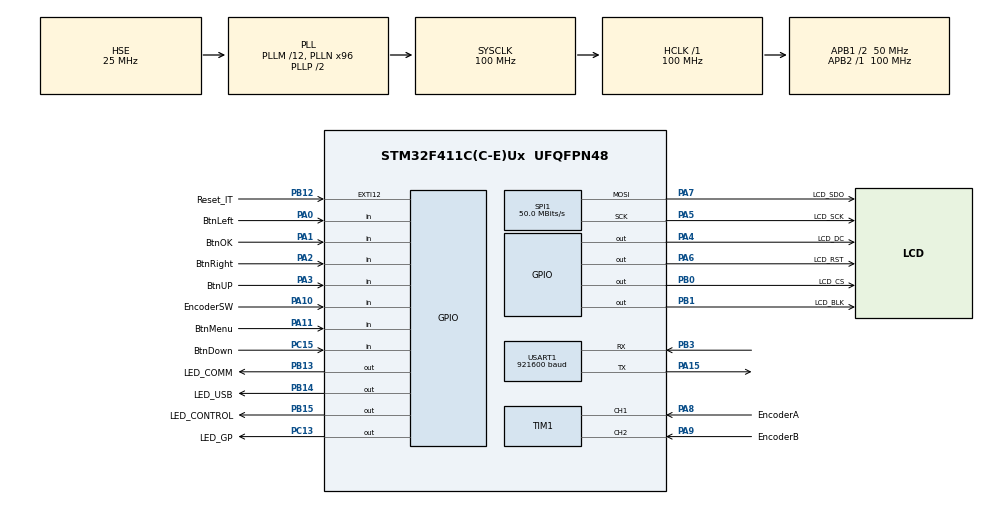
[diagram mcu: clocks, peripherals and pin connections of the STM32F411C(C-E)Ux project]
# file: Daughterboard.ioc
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Dma.MEMTOMEM.2.Direction=DMA_MEMORY_TO_MEMORY
Dma.MEMTOMEM.2.FIFOMode=DMA_FIFOMODE_ENABLE
Dma.MEMTOMEM.2.FIFOThreshold=DMA_FIFO_THRESHOLD_FULL
Dma.MEMTOMEM.2.Instance=DMA2_Stream5
Dma.MEMTOMEM.2.MemBurst=DMA_MBURST_SINGLE
Dma.MEMTOMEM.2.MemDataAlignment=DMA_MDATAALIGN_BYTE
Dma.MEMTOMEM.2.MemInc=DMA_MINC_ENABLE
Dma.MEMTOMEM.2.Mode=DMA_NORMAL
Dma.MEMTOMEM.2.PeriphBurst=DMA_PBURST_SINGLE
Dma.MEMTOMEM.2.PeriphDataAlignment=DMA_PDATAALIGN_BYTE
Dma.MEMTOMEM.2.PeriphInc=DMA_PINC_ENABLE
Dma.MEMTOMEM.2.Priority=DMA_PRIORITY_MEDIUM
Dma.MEMTOMEM.3.Direction=DMA_MEMORY_TO_MEMORY
Dma.MEMTOMEM.3.FIFOMode=DMA_FIFOMODE_ENABLE
Dma.MEMTOMEM.3.FIFOThreshold=DMA_FIFO_THRESHOLD_FULL
Dma.MEMTOMEM.3.Instance=DMA2_Stream4
Dma.MEMTOMEM.3.MemBurst=DMA_MBURST_SINGLE
Dma.MEMTOMEM.3.MemDataAlignment=DMA_MDATAALIGN_HALFWORD
Dma.MEMTOMEM.3.MemInc=DMA_MINC_ENABLE
Dma.MEMTOMEM.3.Mode=DMA_NORMAL
Dma.MEMTOMEM.3.PeriphBurst=DMA_PBURST_SINGLE
Dma.MEMTOMEM.3.PeriphDataAlignment=DMA_PDATAALIGN_HALFWORD
Dma.MEMTOMEM.3.PeriphInc=DMA_PINC_ENABLE
Dma.MEMTOMEM.3.Priority=DMA_PRIORITY_MEDIUM
Dma.MEMTOMEM.4.Direction=DMA_MEMORY_TO_MEMORY
Dma.MEMTOMEM.4.FIFOMode=DMA_FIFOMODE_ENABLE
Dma.MEMTOMEM.4.FIFOThreshold=DMA_FIFO_THRESHOLD_FULL
Dma.MEMTOMEM.4.Instance=DMA2_Stream1
Dma.MEMTOMEM.4.MemBurst=DMA_MBURST_SINGLE
Dma.MEMTOMEM.4.MemDataAlignment=DMA_MDATAALIGN_WORD
Dma.MEMTOMEM.4.MemInc=DMA_MINC_ENABLE
Dma.MEMTOMEM.4.Mode=DMA_NORMAL
Dma.MEMTOMEM.4.PeriphBurst=DMA_PBURST_SINGLE
Dma.MEMTOMEM.4.PeriphDataAlignment=DMA_PDATAALIGN_WORD
Dma.MEMTOMEM.4.PeriphInc=DMA_PINC_ENABLE
Dma.MEMTOMEM.4.Priority=DMA_PRIORITY_MEDIUM
Dma.MEMTOMEM.5.Direction=DMA_MEMORY_TO_MEMORY
Dma.MEMTOMEM.5.FIFOMode=DMA_FIFOMODE_ENABLE
Dma.MEMTOMEM.5.FIFOThreshold=DMA_FIFO_THRESHOLD_FULL
Dma.MEMTOMEM.5.Instance=DMA2_Stream0
Dma.MEMTOMEM.5.MemBurst=DMA_MBURST_SINGLE
Dma.MEMTOMEM.5.MemDataAlignment=DMA_MDATAALIGN_HALFWORD
Dma.MEMTOMEM.5.MemInc=DMA_MINC_ENABLE
Dma.MEMTOMEM.5.Mode=DMA_NORMAL
Dma.MEMTOMEM.5.PeriphBurst=DMA_PBURST_SINGLE
Dma.MEMTOMEM.5.PeriphDataAlignment=DMA_PDATAALIGN_HALFWORD
Dma.MEMTOMEM.5.PeriphInc=DMA_PINC_DISABLE
Dma.MEMTOMEM.5.Priority=DMA_PRIORITY_MEDIUM
Dma.Request0=SPI1_TX
Dma.Request1=USART1_TX
Dma.Request2=MEMTOMEM
Dma.Request3=MEMTOMEM
Dma.Request4=MEMTOMEM
Dma.Request5=MEMTOMEM
Dma.Request6=USART1_RX
Dma.SPI1_TX.0.Direction=DMA_MEMORY_TO_PERIPH
Dma.SPI1_TX.0.FIFOMode=DMA_FIFOMODE_DISABLE
Dma.SPI1_TX.0.Instance=DMA2_Stream3
Dma.SPI1_TX.0.MemDataAlignment=DMA_MDATAALIGN_BYTE
Dma.SPI1_TX.0.MemInc=DMA_MINC_ENABLE
Dma.SPI1_TX.0.Mode=DMA_NORMAL
Dma.SPI1_TX.0.PeriphDataAlignment=DMA_PDATAALIGN_BYTE
Dma.SPI1_TX.0.PeriphInc=DMA_PINC_DISABLE
Dma.SPI1_TX.0.Priority=DMA_PRIORITY_HIGH
Dma.USART1_RX.6.Direction=DMA_PERIPH_TO_MEMORY
Dma.USART1_RX.6.FIFOMode=DMA_FIFOMODE_DISABLE
Dma.USART1_RX.6.Instance=DMA2_Stream2
Dma.USART1_RX.6.MemDataAlignment=DMA_MDATAALIGN_BYTE
Dma.USART1_RX.6.MemInc=DMA_MINC_ENABLE
Dma.USART1_RX.6.Mode=DMA_NORMAL
Dma.USART1_RX.6.PeriphDataAlignment=DMA_PDATAALIGN_BYTE
Dma.USART1_RX.6.PeriphInc=DMA_PINC_DISABLE
Dma.USART1_RX.6.Priority=DMA_PRIORITY_LOW
Dma.USART1_TX.1.Direction=DMA_MEMORY_TO_PERIPH
Dma.USART1_TX.1.FIFOMode=DMA_FIFOMODE_DISABLE
Dma.USART1_TX.1.Instance=DMA2_Stream7
Dma.USART1_TX.1.MemDataAlignment=DMA_MDATAALIGN_BYTE
Dma.USART1_TX.1.MemInc=DMA_MINC_ENABLE
Dma.USART1_TX.1.Mode=DMA_NORMAL
Dma.USART1_TX.1.PeriphDataAlignment=DMA_PDATAALIGN_BYTE
Dma.USART1_TX.1.PeriphInc=DMA_PINC_DISABLE
Dma.USART1_TX.1.Priority=DMA_PRIORITY_LOW
FREERTOS.BinarySemaphores01=xSemaphoreDMACplt3,Static,xSemaphoreDMACplt3ControlBlock;xSemaphoreDMACplt4,Static,xSemaphoreDMACplt4ControlBlock;xSemaphoreDMACplt5,Static,xSemaphoreDMACplt5ControlBlock;xSemaphoreDMACplt0,Static,xSemaphoreDMACplt0ControlBlock;xSemaphore_InitMother,Dynamic,NULL;xSemaphore_UARTRxCplt,Static,xSemaphore_UARTRxCpltControlBlock;xSemaphore_UARTTxCplt,Static,xSemaphore_UARTTxCpltControlBlock
FREERTOS.Events01=xEvent_UIFinishedInit,Dynamic,NULL;xEvent_DID,Dynamic,NULL;xEvent_DTC,Dynamic,NULL;xEvent_ButtonsFIFOEnabled,Dynamic,NULL;xEvent_FatalError,Dynamic,NULL;xEvent_UARTSendType,Dynamic,NULL;xEvent_ButtonsEnabled,Dynamic,NULL;XEvent_ButtonPressed,Dynamic,NULL;xEvent_UIConfigs,Dynamic,NULL;xEvent_CurrentControlMode,Dynamic,NULL
FREERTOS.Queues01=xFIFOSetGPUReq,16,GPUReq_t,0,Dynamic,NULL,NULL;xFIFOGetGPUBuf,16,void **,0,Dynamic,NULL,NULL;xFIFO_Buttons,32,Buttons,0,Dynamic,NULL,NULL;xFIFO_COM,32,PDU_t,0,Dynamic,NULL,NULL;xFIFO_Distance,32,int16_t,0,Dynamic,NULL,NULL;xFIFO_RPM,32,int16_t,0,Dynamic,NULL,NULL;xFIFO_ControlConstants,4,ControlConst,0,Dynamic,NULL,NULL;xFIFO_EncoderData,64,EncoderDir,0,Dynamic,NULL,NULL;xFIFO_ActionControl,32,int16_t,0,Dynamic,NULL,NULL;xFIFO_ControlGains,16,ControlGain,0,Dynamic,NULL,NULL;xFIFO_UISetPoint,16,int16_t,0,Dynamic,NULL,NULL
FREERTOS.Tasks01=TaskIdle,48,64,vTaskIdle,Default,NULL,Static,TaskIdleBuffer,TaskIdleControlBlock;TaskUI,24,10240,vTaskUI,As external,NULL,Static,TaskUIBuffer,TaskUIControlBlock;TaskLeds,16,64,vTaskLeds,Default,NULL,Static,TaskLedsBuffer,TaskLedsControlBlock;TaskWdgM,48,128,vTaskWdgM,Default,NULL,Static,TaskWdgMBuffer,TaskWdgMControlBlock;TaskCOM,32,1024,vTaskCOM,As external,NULL,Static,TaskCOMBuffer,TaskCOMControlBlock;TaskDiagAppl,24,128,vTaskDiagAppl,As external,NULL,Static,TaskDiagApplBuffer,TaskDiagApplControlBlock;TaskGPUResMan,32,256,vTaskGPUResMan,As external,NULL,Static,TaskGPUResManBuffer,TaskGPUResManControlBlock;TaskHMI,40,256,vTaskHMI,As external,NULL,Static,TaskHMIBuffer,TaskHMIControlBlock
FREERTOS.configCHECK_FOR_STACK_OVERFLOW=2
FREERTOS.configENABLE_FPU=1
FREERTOS.configGENERATE_RUN_TIME_STATS=1
FREERTOS.configMINIMAL_STACK_SIZE=64
FREERTOS.configTOTAL_HEAP_SIZE=15360
FREERTOS.configUSE_NEWLIB_REENTRANT=1
FREERTOS.configUSE_STATS_FORMATTING_FUNCTIONS=1
IWDG.Reload=4000
Mcu.Family=STM32F4
Mcu.Name=STM32F411C(C-E)Ux
Mcu.Package=UFQFPN48
NVIC.DMA2_Stream2_IRQn=true\:5\:0\:false\:false\:true\:true\:false\:true\:true
NVIC.DMA2_Stream3_IRQn=true\:5\:0\:false\:false\:true\:true\:false\:true\:true
NVIC.DMA2_Stream7_IRQn=true\:5\:0\:false\:false\:true\:true\:false\:true\:true
NVIC.EXTI15_10_IRQn=true\:5\:0\:false\:false\:true\:true\:true\:true\:true
NVIC.PriorityGroup=NVIC_PRIORITYGROUP_4
NVIC.TIM3_IRQn=true\:5\:0\:false\:false\:true\:true\:true\:true\:true
NVIC.TIM4_IRQn=true\:5\:0\:false\:false\:true\:true\:true\:true\:true
NVIC.USART1_IRQn=true\:5\:0\:false\:false\:true\:true\:true\:true\:true
PA0-WKUP.GPIO_Label=BtnLeft
PA0-WKUP.GPIO_PuPd=GPIO_PULLUP
PA0-WKUP.Signal=GPIO_Input
PA1.GPIO_Label=BtnOK
PA1.GPIO_PuPd=GPIO_PULLUP
PA1.Signal=GPIO_Input
PA10.GPIO_Label=EncoderSW
PA10.GPIO_PuPd=GPIO_PULLUP
PA10.Signal=GPIO_Input
PA11.GPIO_Label=BtnMenu
PA11.GPIO_PuPd=GPIO_PULLUP
PA11.Signal=GPIO_Input
PA13.Mode=Serial_Wire
PA13.Signal=SYS_JTMS-SWDIO
PA14.Mode=Serial_Wire
PA14.Signal=SYS_JTCK-SWCLK
PA15.Mode=Asynchronous
PA15.Signal=USART1_TX
PA2.GPIO_Label=BtnRight
PA2.GPIO_PuPd=GPIO_PULLUP
PA2.Signal=GPIO_Input
PA3.GPIO_Label=BtnUP
PA3.GPIO_PuPd=GPIO_PULLUP
PA3.Signal=GPIO_Input
PA4.GPIO_Label=LCD_DC
PA4.GPIO_PuPd=GPIO_PULLUP
PA4.GPIO_Speed=GPIO_SPEED_FREQ_VERY_HIGH
PA4.PinState=GPIO_PIN_SET
PA4.Signal=GPIO_Output
PA5.GPIO_Label=LCD_SCK
PA5.Mode=TX_Only_Simplex_Unidirect_Master
PA5.Signal=SPI1_SCK
PA6.GPIO_Label=LCD_RST
PA6.GPIO_PuPd=GPIO_PULLUP
PA6.GPIO_Speed=GPIO_SPEED_FREQ_VERY_HIGH
PA6.PinState=GPIO_PIN_SET
PA6.Signal=GPIO_Output
PA7.GPIO_Label=LCD_SDO
PA7.Mode=TX_Only_Simplex_Unidirect_Master
PA7.Signal=SPI1_MOSI
PA8.GPIO_Label=EncoderA
PA8.GPIO_PuPd=GPIO_PULLUP
PA8.Signal=S_TIM1_CH1
PA9.GPIO_Label=EncoderB
PA9.GPIO_PuPd=GPIO_PULLUP
PA9.Signal=S_TIM1_CH2
PB0.GPIO_Label=LCD_CS
PB0.GPIO_PuPd=GPIO_PULLUP
PB0.GPIO_Speed=GPIO_SPEED_FREQ_VERY_HIGH
PB0.PinState=GPIO_PIN_SET
PB0.Signal=GPIO_Output
PB1.GPIO_Label=LCD_BLK
PB1.GPIO_ModeDefaultOutputPP=GPIO_MODE_OUTPUT_PP
PB1.GPIO_PuPd=GPIO_PULLUP
PB1.GPIO_Speed=GPIO_SPEED_FREQ_VERY_HIGH
PB1.PinState=GPIO_PIN_SET
PB1.Signal=GPIO_Output
PB12.GPIO_Label=Reset_IT
PB12.GPIO_ModeDefaultEXTI=GPIO_MODE_IT_FALLING
PB12.GPIO_PuPd=GPIO_PULLUP
PB12.Signal=GPXTI12
PB13.GPIO_Label=LED_COMM
PB13.Signal=GPIO_Output
PB14.GPIO_Label=LED_USB
PB14.Signal=GPIO_Output
PB15.GPIO_Label=LED_CONTROL
PB15.Signal=GPIO_Output
PB3.Mode=Asynchronous
PB3.Signal=USART1_RX
PC13-ANTI_TAMP.GPIO_Label=LED_GP
PC13-ANTI_TAMP.Signal=GPIO_Output
PC15-OSC32_OUT.GPIO_Label=BtnDown
PC15-OSC32_OUT.GPIO_PuPd=GPIO_PULLUP
PC15-OSC32_OUT.Signal=GPIO_Input
PH0\ -\ OSC_IN.Mode=HSE-External-Oscillator
PH0\ -\ OSC_IN.Signal=RCC_OSC_IN
PH1\ -\ OSC_OUT.Mode=HSE-External-Oscillator
PH1\ -\ OSC_OUT.Signal=RCC_OSC_OUT
ProjectManager.HeapSize=0x200
ProjectManager.StackSize=0x400
ProjectManager.TargetToolchain=STM32CubeIDE
RCC.48MHZClocksFreq_Value=50000000
RCC.AHBFreq_Value=100000000
RCC.APB1CLKDivider=RCC_HCLK_DIV2
RCC.APB1Freq_Value=50000000
RCC.APB1TimFreq_Value=100000000
RCC.APB2Freq_Value=100000000
RCC.APB2TimFreq_Value=100000000
RCC.CortexFreq_Value=100000000
RCC.HCLKFreq_Value=100000000
RCC.HSE_VALUE=25000000
RCC.HSI_VALUE=16000000
RCC.LSE_VALUE=32768
RCC.PLLM=12
RCC.PLLN=96
RCC.PLLSourceVirtual=RCC_PLLSOURCE_HSE
RCC.SYSCLKFreq_VALUE=100000000
RCC.SYSCLKSource=RCC_SYSCLKSOURCE_PLLCLK
RCC.VCOOutputFreq_Value=200000000
SH.S_TIM1_CH1.0=TIM1_CH1,Encoder_Interface
SH.S_TIM1_CH2.0=TIM1_CH2,Encoder_Interface
SPI1.CLKPolarity=SPI_POLARITY_HIGH
SPI1.CalculateBaudRate=50.0 MBits/s
SPI1.Direction=SPI_DIRECTION_2LINES
SPI1.Mode=SPI_MODE_MASTER
SPI1.VirtualType=VM_MASTER
TIM11.AutoReloadPreload=TIM_AUTORELOAD_PRELOAD_ENABLE
TIM11.Period=1000-1
TIM2.AutoReloadPreload=TIM_AUTORELOAD_PRELOAD_ENABLE
TIM2.Prescaler=100-1
TIM3.AutoReloadPreload=TIM_AUTORELOAD_PRELOAD_ENABLE
TIM3.Period=62499
TIM3.Prescaler=15
TIM4.AutoReloadPreload=TIM_AUTORELOAD_PRELOAD_ENABLE
TIM4.CounterMode=TIM_COUNTERMODE_DOWN
TIM4.Period=62499
TIM4.Prescaler=15
USART1.BaudRate=921600
USART1.Parity=PARITY_EVEN
USART1.VirtualMode=VM_ASYNC
USART1.WordLength=WORDLENGTH_9B
VP_FREERTOS_VS_CMSIS_V2.Mode=CMSIS_V2
VP_IWDG_VS_IWDG.Mode=IWDG_Activate
VP_TIM11_VS_ClockSourceINT.Mode=Enable_Timer
VP_TIM2_VS_ClockSourceINT.Mode=Internal
VP_TIM3_VS_ClockSourceINT.Mode=Internal
VP_TIM4_VS_ClockSourceINT.Mode=Internal
board=custom

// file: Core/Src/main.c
/* USER CODE BEGIN Header */
/**
  ******************************************************************************
  * @file           : main.c
  * @brief          : Main program body
  ******************************************************************************
  * @attention
  *
  * Copyright (c) 2023 STMicroelectronics.
  * All rights reserved.
  *
  * This software is licensed under terms that can be found in the LICENSE file
  * in the root directory of this software component.
  * If no LICENSE file comes with this software, it is provided AS-IS.
  *
  ******************************************************************************
  */
/* USER CODE END Header */
#include "main.h"
#include "cmsis_os.h"

/* USER CODE BEGIN Includes */
#include "lcd.h"
#include "ugui.h"
#include "UI.h"
#include "COM.h"
#include "GPUResMan.h"
#include "DiagAppl.h"
#include "HMI.h"
/* USER CODE END Includes */

typedef StaticTask_t osStaticThreadDef_t;
typedef StaticSemaphore_t osStaticSemaphoreDef_t;

/* USER CODE BEGIN PM */

/*
 * Documentation of timer usage
 *
 * htim1  Timer used for the encoder decodification
 * htim2  Timer used for the CPU Load measures on the OSHandler
 * htim3  Timer used for the UART periodical info send
 * htim4  Timer used as a UART Watchdog timer
 * htim11 TODO Fill here the documentation for this timer
 *
 */

/* USER CODE END PM */

IWDG_HandleTypeDef hiwdg;

SPI_HandleTypeDef hspi1;
DMA_HandleTypeDef hdma_spi1_tx;

TIM_HandleTypeDef htim1;
TIM_HandleTypeDef htim2;
TIM_HandleTypeDef htim3;
TIM_HandleTypeDef htim4;
TIM_HandleTypeDef htim11;

UART_HandleTypeDef huart1;
DMA_HandleTypeDef hdma_usart1_tx;
DMA_HandleTypeDef hdma_usart1_rx;

DMA_HandleTypeDef hdma_memtomem_dma2_stream5;
DMA_HandleTypeDef hdma_memtomem_dma2_stream4;
DMA_HandleTypeDef hdma_memtomem_dma2_stream1;
DMA_HandleTypeDef hdma_memtomem_dma2_stream0;
/* Definitions for TaskIdle */
osThreadId_t TaskIdleHandle;
uint32_t TaskIdleBuffer[ 64 ];
osStaticThreadDef_t TaskIdleControlBlock;
const osThreadAttr_t TaskIdle_attributes = {
  .name = "TaskIdle",
  .cb_mem = &TaskIdleControlBlock,
  .cb_size = sizeof(TaskIdleControlBlock),
  .stack_mem = &TaskIdleBuffer[0],
  .stack_size = sizeof(TaskIdleBuffer),
  .priority = (osPriority_t) osPriorityRealtime,
};
/* Definitions for TaskUI */
osThreadId_t TaskUIHandle;
uint32_t TaskUIBuffer[ 10240 ];
osStaticThreadDef_t TaskUIControlBlock;
const osThreadAttr_t TaskUI_attributes = {
  .name = "TaskUI",
  .cb_mem = &TaskUIControlBlock,
  .cb_size = sizeof(TaskUIControlBlock),
  .stack_mem = &TaskUIBuffer[0],
  .stack_size = sizeof(TaskUIBuffer),
  .priority = (osPriority_t) osPriorityNormal,
};
/* Definitions for TaskLeds */
osThreadId_t TaskLedsHandle;
uint32_t TaskLedsBuffer[ 64 ];
osStaticThreadDef_t TaskLedsControlBlock;
const osThreadAttr_t TaskLeds_attributes = {
  .name = "TaskLeds",
  .cb_mem = &TaskLedsControlBlock,
  .cb_size = sizeof(TaskLedsControlBlock),
  .stack_mem = &TaskLedsBuffer[0],
  .stack_size = sizeof(TaskLedsBuffer),
  .priority = (osPriority_t) osPriorityBelowNormal,
};
/* Definitions for TaskWdgM */
osThreadId_t TaskWdgMHandle;
uint32_t TaskWdgMBuffer[ 128 ];
osStaticThreadDef_t TaskWdgMControlBlock;
const osThreadAttr_t TaskWdgM_attributes = {
  .name = "TaskWdgM",
  .cb_mem = &TaskWdgMControlBlock,
  .cb_size = sizeof(TaskWdgMControlBlock),
  .stack_mem = &TaskWdgMBuffer[0],
  .stack_size = sizeof(TaskWdgMBuffer),
  .priority = (osPriority_t) osPriorityRealtime,
};
/* Definitions for TaskCOM */
osThreadId_t TaskCOMHandle;
uint32_t TaskCOMBuffer[ 1024 ];
osStaticThreadDef_t TaskCOMControlBlock;
const osThreadAttr_t TaskCOM_attributes = {
  .name = "TaskCOM",
  .cb_mem = &TaskCOMControlBlock,
  .cb_size = sizeof(TaskCOMControlBlock),
  .stack_mem = &TaskCOMBuffer[0],
  .stack_size = sizeof(TaskCOMBuffer),
  .priority = (osPriority_t) osPriorityAboveNormal,
};
/* Definitions for TaskDiagAppl */
osThreadId_t TaskDiagApplHandle;
uint32_t TaskDiagApplBuffer[ 128 ];
osStaticThreadDef_t TaskDiagApplControlBlock;
const osThreadAttr_t TaskDiagAppl_attributes = {
  .name = "TaskDiagAppl",
  .cb_mem = &TaskDiagApplControlBlock,
  .cb_size = sizeof(TaskDiagApplControlBlock),
  .stack_mem = &TaskDiagApplBuffer[0],
  .stack_size = sizeof(TaskDiagApplBuffer),
  .priority = (osPriority_t) osPriorityNormal,
};
/* Definitions for TaskGPUResMan */
osThreadId_t TaskGPUResManHandle;
uint32_t TaskGPUResManBuffer[ 256 ];
osStaticThreadDef_t TaskGPUResManControlBlock;
const osThreadAttr_t TaskGPUResMan_attributes = {
  .name = "TaskGPUResMan",
  .cb_mem = &TaskGPUResManControlBlock,
  .cb_size = sizeof(TaskGPUResManControlBlock),
  .stack_mem = &TaskGPUResManBuffer[0],
  .stack_size = sizeof(TaskGPUResManBuffer),
  .priority = (osPriority_t) osPriorityAboveNormal,
};
/* Definitions for TaskHMI */
osThreadId_t TaskHMIHandle;
uint32_t TaskHMIBuffer[ 256 ];
osStaticThreadDef_t TaskHMIControlBlock;
const osThreadAttr_t TaskHMI_attributes = {
  .name = "TaskHMI",
  .cb_mem = &TaskHMIControlBlock,
  .cb_size = sizeof(TaskHMIControlBlock),
  .stack_mem = &TaskHMIBuffer[0],
  .stack_size = sizeof(TaskHMIBuffer),
  .priority = (osPriority_t) osPriorityHigh,
};
/* Definitions for xFIFOSetGPUReq */
osMessageQueueId_t xFIFOSetGPUReqHandle;
const osMessageQueueAttr_t xFIFOSetGPUReq_attributes = {
  .name = "xFIFOSetGPUReq"
};
/* Definitions for xFIFOGetGPUBuf */
osMessageQueueId_t xFIFOGetGPUBufHandle;
const osMessageQueueAttr_t xFIFOGetGPUBuf_attributes = {
  .name = "xFIFOGetGPUBuf"
};
/* Definitions for xFIFO_Buttons */
osMessageQueueId_t xFIFO_ButtonsHandle;
const osMessageQueueAttr_t xFIFO_Buttons_attributes = {
  .name = "xFIFO_Buttons"
};
/* Definitions for xFIFO_COM */
osMessageQueueId_t xFIFO_COMHandle;
const osMessageQueueAttr_t xFIFO_COM_attributes = {
  .name = "xFIFO_COM"
};
/* Definitions for xFIFO_Distance */
osMessageQueueId_t xFIFO_DistanceHandle;
const osMessageQueueAttr_t xFIFO_Distance_attributes = {
  .name = "xFIFO_Distance"
};
/* Definitions for xFIFO_RPM */
osMessageQueueId_t xFIFO_RPMHandle;
const osMessageQueueAttr_t xFIFO_RPM_attributes = {
  .name = "xFIFO_RPM"
};
/* Definitions for xFIFO_ControlConstants */
osMessageQueueId_t xFIFO_ControlConstantsHandle;
const osMessageQueueAttr_t xFIFO_ControlConstants_attributes = {
  .name = "xFIFO_ControlConstants"
};
/* Definitions for xFIFO_EncoderData */
osMessageQueueId_t xFIFO_EncoderDataHandle;
const osMessageQueueAttr_t xFIFO_EncoderData_attributes = {
  .name = "xFIFO_EncoderData"
};
/* Definitions for xFIFO_ActionControl */
osMessageQueueId_t xFIFO_ActionControlHandle;
const osMessageQueueAttr_t xFIFO_ActionControl_attributes = {
  .name = "xFIFO_ActionControl"
};
/* Definitions for xFIFO_ControlGains */
osMessageQueueId_t xFIFO_ControlGainsHandle;
const osMessageQueueAttr_t xFIFO_ControlGains_attributes = {
  .name = "xFIFO_ControlGains"
};
/* Definitions for xFIFO_UISetPoint */
osMessageQueueId_t xFIFO_UISetPointHandle;
const osMessageQueueAttr_t xFIFO_UISetPoint_attributes = {
  .name = "xFIFO_UISetPoint"
};
/* Definitions for xSemaphoreDMACplt3 */
osSemaphoreId_t xSemaphoreDMACplt3Handle;
osStaticSemaphoreDef_t xSemaphoreDMACplt3ControlBlock;
const osSemaphoreAttr_t xSemaphoreDMACplt3_attributes = {
  .name = "xSemaphoreDMACplt3",
  .cb_mem = &xSemaphoreDMACplt3ControlBlock,
  .cb_size = sizeof(xSemaphoreDMACplt3ControlBlock),
};
/* Definitions for xSemaphoreDMACplt4 */
osSemaphoreId_t xSemaphoreDMACplt4Handle;
osStaticSemaphoreDef_t xSemaphoreDMACplt4ControlBlock;
const osSemaphoreAttr_t xSemaphoreDMACplt4_attributes = {
  .name = "xSemaphoreDMACplt4",
  .cb_mem = &xSemaphoreDMACplt4ControlBlock,
  .cb_size = sizeof(xSemaphoreDMACplt4ControlBlock),
};
/* Definitions for xSemaphoreDMACplt5 */
osSemaphoreId_t xSemaphoreDMACplt5Handle;
osStaticSemaphoreDef_t xSemaphoreDMACplt5ControlBlock;
const osSemaphoreAttr_t xSemaphoreDMACplt5_attributes = {
  .name = "xSemaphoreDMACplt5",
  .cb_mem = &xSemaphoreDMACplt5ControlBlock,
  .cb_size = sizeof(xSemaphoreDMACplt5ControlBlock),
};
/* Definitions for xSemaphoreDMACplt0 */
osSemaphoreId_t xSemaphoreDMACplt0Handle;
osStaticSemaphoreDef_t xSemaphoreDMACplt0ControlBlock;
const osSemaphoreAttr_t xSemaphoreDMACplt0_attributes = {
  .name = "xSemaphoreDMACplt0",
  .cb_mem = &xSemaphoreDMACplt0ControlBlock,
  .cb_size = sizeof(xSemaphoreDMACplt0ControlBlock),
};
/* Definitions for xSemaphore_InitMother */
osSemaphoreId_t xSemaphore_InitMotherHandle;
const osSemaphoreAttr_t xSemaphore_InitMother_attributes = {
  .name = "xSemaphore_InitMother"
};
/* Definitions for xSemaphore_UARTRxCplt */
osSemaphoreId_t xSemaphore_UARTRxCpltHandle;
osStaticSemaphoreDef_t xSemaphore_UARTRxCpltControlBlock;
const osSemaphoreAttr_t xSemaphore_UARTRxCplt_attributes = {
  .name = "xSemaphore_UARTRxCplt",
  .cb_mem = &xSemaphore_UARTRxCpltControlBlock,
  .cb_size = sizeof(xSemaphore_UARTRxCpltControlBlock),
};
/* Definitions for xSemaphore_UARTTxCplt */
osSemaphoreId_t xSemaphore_UARTTxCpltHandle;
osStaticSemaphoreDef_t xSemaphore_UARTTxCpltControlBlock;
const osSemaphoreAttr_t xSemaphore_UARTTxCplt_attributes = {
  .name = "xSemaphore_UARTTxCplt",
  .cb_mem = &xSemaphore_UARTTxCpltControlBlock,
  .cb_size = sizeof(xSemaphore_UARTTxCpltControlBlock),
};
/* Definitions for xEvent_UIFinishedInit */
osEventFlagsId_t xEvent_UIFinishedInitHandle;
const osEventFlagsAttr_t xEvent_UIFinishedInit_attributes = {
  .name = "xEvent_UIFinishedInit"
};
/* Definitions for xEvent_DID */
osEventFlagsId_t xEvent_DIDHandle;
const osEventFlagsAttr_t xEvent_DID_attributes = {
  .name = "xEvent_DID"
};
/* Definitions for xEvent_DTC */
osEventFlagsId_t xEvent_DTCHandle;
const osEventFlagsAttr_t xEvent_DTC_attributes = {
  .name = "xEvent_DTC"
};
/* Definitions for xEvent_ButtonsFIFOEnabled */
osEventFlagsId_t xEvent_ButtonsFIFOEnabledHandle;
const osEventFlagsAttr_t xEvent_ButtonsFIFOEnabled_attributes = {
  .name = "xEvent_ButtonsFIFOEnabled"
};
/* Definitions for xEvent_FatalError */
osEventFlagsId_t xEvent_FatalErrorHandle;
const osEventFlagsAttr_t xEvent_FatalError_attributes = {
  .name = "xEvent_FatalError"
};
/* Definitions for xEvent_UARTSendType */
osEventFlagsId_t xEvent_UARTSendTypeHandle;
const osEventFlagsAttr_t xEvent_UARTSendType_attributes = {
  .name = "xEvent_UARTSendType"
};
/* Definitions for xEvent_ButtonsEnabled */
osEventFlagsId_t xEvent_ButtonsEnabledHandle;
const osEventFlagsAttr_t xEvent_ButtonsEnabled_attributes = {
  .name = "xEvent_ButtonsEnabled"
};
/* Definitions for XEvent_ButtonPressed */
osEventFlagsId_t XEvent_ButtonPressedHandle;
const osEventFlagsAttr_t XEvent_ButtonPressed_attributes = {
  .name = "XEvent_ButtonPressed"
};
/* Definitions for xEvent_UIConfigs */
osEventFlagsId_t xEvent_UIConfigsHandle;
const osEventFlagsAttr_t xEvent_UIConfigs_attributes = {
  .name = "xEvent_UIConfigs"
};
/* Definitions for xEvent_CurrentControlMode */
osEventFlagsId_t xEvent_CurrentControlModeHandle;
const osEventFlagsAttr_t xEvent_CurrentControlMode_attributes = {
  .name = "xEvent_CurrentControlMode"
};
/* USER CODE BEGIN PV */
osMemoryPoolId_t MemoryPool8;  /*Generic Memory Pool designed for members of 1 Byte size*/
osMemoryPoolId_t MemoryPool16; /*Generic Memory Pool designed for members of 2 Byte size*/
osMemoryPoolId_t MemoryPool32; /*Generic Memory Pool designed for members of 4 Byte size*/

osMemoryPoolId_t MemoryPool16_UI_PixelsValue; /*Component Specific Memory Pool*/
osMemoryPoolId_t MemoryPool16_UI_PixelsIndex; /*Component Specific Memory Pool*/
/* USER CODE END PV */

void SystemClock_Config(void);
static void MX_GPIO_Init(void);
static void MX_DMA_Init(void);
static void MX_SPI1_Init(void);
static void MX_TIM1_Init(void);
static void MX_USART1_UART_Init(void);
static void MX_TIM11_Init(void);
static void MX_TIM2_Init(void);
static void MX_TIM3_Init(void);
static void MX_TIM4_Init(void);
static void MX_IWDG_Init(void);
void vTaskIdle(void *argument);
extern void vTaskUI(void *argument);
void vTaskLeds(void *argument);
void vTaskWdgM(void *argument);
extern void vTaskCOM(void *argument);
extern void vTaskDiagAppl(void *argument);
extern void vTaskGPUResMan(void *argument);
extern void vTaskHMI(void *argument);

int main(void)
{

  /* MCU Configuration--------------------------------------------------------*/

  /* Reset of all peripherals, Initializes the Flash interface and the Systick. */
  HAL_Init();

  /* Configure the system clock */
  SystemClock_Config();

  /* Initialize all configured peripherals */
  MX_GPIO_Init();
  MX_DMA_Init();
  MX_SPI1_Init();
  MX_TIM1_Init();
  MX_USART1_UART_Init();
  MX_TIM11_Init();
  MX_TIM2_Init();
  MX_TIM3_Init();
  MX_TIM4_Init();
  MX_IWDG_Init();
  /* USER CODE BEGIN 2 */
  memoryPoolInit();
  /* USER CODE END 2 */

  /* Init scheduler */
  osKernelInitialize();

  /* Create the semaphores(s) */
  /* creation of xSemaphoreDMACplt3 */
  xSemaphoreDMACplt3Handle = osSemaphoreNew(1, 1, &xSemaphoreDMACplt3_attributes);

  /* creation of xSemaphoreDMACplt4 */
  xSemaphoreDMACplt4Handle = osSemaphoreNew(1, 1, &xSemaphoreDMACplt4_attributes);

  /* creation of xSemaphoreDMACplt5 */
  xSemaphoreDMACplt5Handle = osSemaphoreNew(1, 1, &xSemaphoreDMACplt5_attributes);

  /* creation of xSemaphoreDMACplt0 */
  xSemaphoreDMACplt0Handle = osSemaphoreNew(1, 1, &xSemaphoreDMACplt0_attributes);

  /* creation of xSemaphore_InitMother */
  xSemaphore_InitMotherHandle = osSemaphoreNew(1, 1, &xSemaphore_InitMother_attributes);

  /* creation of xSemaphore_UARTRxCplt */
  xSemaphore_UARTRxCpltHandle = osSemaphoreNew(1, 1, &xSemaphore_UARTRxCplt_attributes);

  /* creation of xSemaphore_UARTTxCplt */
  xSemaphore_UARTTxCpltHandle = osSemaphoreNew(1, 1, &xSemaphore_UARTTxCplt_attributes);

  /* USER CODE BEGIN RTOS_SEMAPHORES */
  /* add semaphores, ... */
  osSemaphoreAcquire(xSemaphore_InitMotherHandle, 0U);
  osSemaphoreAcquire(xSemaphore_UARTRxCpltHandle, 0U);
  osSemaphoreAcquire(xSemaphore_UARTTxCpltHandle, 0U);
  /* USER CODE END RTOS_SEMAPHORES */

  /* Create the queue(s) */
  /* creation of xFIFOSetGPUReq */
  xFIFOSetGPUReqHandle = osMessageQueueNew (16, sizeof(GPUReq_t), &xFIFOSetGPUReq_attributes);

  /* creation of xFIFOGetGPUBuf */
  xFIFOGetGPUBufHandle = osMessageQueueNew (16, sizeof(void **), &xFIFOGetGPUBuf_attributes);

  /* creation of xFIFO_Buttons */
  xFIFO_ButtonsHandle = osMessageQueueNew (32, sizeof(Buttons), &xFIFO_Buttons_attributes);

  /* creation of xFIFO_COM */
  xFIFO_COMHandle = osMessageQueueNew (32, sizeof(PDU_t), &xFIFO_COM_attributes);

  /* creation of xFIFO_Distance */
  xFIFO_DistanceHandle = osMessageQueueNew (32, sizeof(int16_t), &xFIFO_Distance_attributes);

  /* creation of xFIFO_RPM */
  xFIFO_RPMHandle = osMessageQueueNew (32, sizeof(int16_t), &xFIFO_RPM_attributes);

  /* creation of xFIFO_ControlConstants */
  xFIFO_ControlConstantsHandle = osMessageQueueNew (4, sizeof(ControlConst), &xFIFO_ControlConstants_attributes);

  /* creation of xFIFO_EncoderData */
  xFIFO_EncoderDataHandle = osMessageQueueNew (64, sizeof(EncoderDir), &xFIFO_EncoderData_attributes);

  /* creation of xFIFO_ActionControl */
  xFIFO_ActionControlHandle = osMessageQueueNew (32, sizeof(int16_t), &xFIFO_ActionControl_attributes);

  /* creation of xFIFO_ControlGains */
  xFIFO_ControlGainsHandle = osMessageQueueNew (16, sizeof(ControlGain), &xFIFO_ControlGains_attributes);

  /* creation of xFIFO_UISetPoint */
  xFIFO_UISetPointHandle = osMessageQueueNew (16, sizeof(int16_t), &xFIFO_UISetPoint_attributes);

  /* Create the thread(s) */
  /* creation of TaskIdle */
  TaskIdleHandle = osThreadNew(vTaskIdle, NULL, &TaskIdle_attributes);

  /* creation of TaskUI */
  TaskUIHandle = osThreadNew(vTaskUI, NULL, &TaskUI_attributes);

  /* creation of TaskLeds */
  TaskLedsHandle = osThreadNew(vTaskLeds, NULL, &TaskLeds_attributes);

  /* creation of TaskWdgM */
  TaskWdgMHandle = osThreadNew(vTaskWdgM, NULL, &TaskWdgM_attributes);

  /* creation of TaskCOM */
  TaskCOMHandle = osThreadNew(vTaskCOM, NULL, &TaskCOM_attributes);

  /* creation of TaskDiagAppl */
  TaskDiagApplHandle = osThreadNew(vTaskDiagAppl, NULL, &TaskDiagAppl_attributes);

  /* creation of TaskGPUResMan */
  TaskGPUResManHandle = osThreadNew(vTaskGPUResMan, NULL, &TaskGPUResMan_attributes);

  /* creation of TaskHMI */
  TaskHMIHandle = osThreadNew(vTaskHMI, NULL, &TaskHMI_attributes);

  /* Create the event(s) */
  /* creation of xEvent_UIFinishedInit */
  xEvent_UIFinishedInitHandle = osEventFlagsNew(&xEvent_UIFinishedInit_attributes);

  /* creation of xEvent_DID */
  xEvent_DIDHandle = osEventFlagsNew(&xEvent_DID_attributes);

  /* creation of xEvent_DTC */
  xEvent_DTCHandle = osEventFlagsNew(&xEvent_DTC_attributes);

  /* creation of xEvent_ButtonsFIFOEnabled */
  xEvent_ButtonsFIFOEnabledHandle = osEventFlagsNew(&xEvent_ButtonsFIFOEnabled_attributes);

  /* creation of xEvent_FatalError */
  xEvent_FatalErrorHandle = osEventFlagsNew(&xEvent_FatalError_attributes);

  /* creation of xEvent_UARTSendType */
  xEvent_UARTSendTypeHandle = osEventFlagsNew(&xEvent_UARTSendType_attributes);

  /* creation of xEvent_ButtonsEnabled */
  xEvent_ButtonsEnabledHandle = osEventFlagsNew(&xEvent_ButtonsEnabled_attributes);

  /* creation of XEvent_ButtonPressed */
  XEvent_ButtonPressedHandle = osEventFlagsNew(&XEvent_ButtonPressed_attributes);

  /* creation of xEvent_UIConfigs */
  xEvent_UIConfigsHandle = osEventFlagsNew(&xEvent_UIConfigs_attributes);

  /* creation of xEvent_CurrentControlMode */
  xEvent_CurrentControlModeHandle = osEventFlagsNew(&xEvent_CurrentControlMode_attributes);

  /* Start scheduler */
  osKernelStart();
  /* We should never get here as control is now taken by the scheduler */
  /* Infinite loop */
  while (1)
  {

  }
}

void SystemClock_Config(void)
{
  RCC_OscInitTypeDef RCC_OscInitStruct = {0};
  RCC_ClkInitTypeDef RCC_ClkInitStruct = {0};

  /** Configure the main internal regulator output voltage
  */
  __HAL_RCC_PWR_CLK_ENABLE();
  __HAL_PWR_VOLTAGESCALING_CONFIG(PWR_REGULATOR_VOLTAGE_SCALE1);

  /** Initializes the RCC Oscillators according to the specified parameters
  * in the RCC_OscInitTypeDef structure.
  */
  RCC_OscInitStruct.OscillatorType = RCC_OSCILLATORTYPE_LSI|RCC_OSCILLATORTYPE_HSE;
  RCC_OscInitStruct.HSEState = RCC_HSE_ON;
  RCC_OscInitStruct.LSIState = RCC_LSI_ON;
  RCC_OscInitStruct.PLL.PLLState = RCC_PLL_ON;
  RCC_OscInitStruct.PLL.PLLSource = RCC_PLLSOURCE_HSE;
  RCC_OscInitStruct.PLL.PLLM = 12;
  RCC_OscInitStruct.PLL.PLLN = 96;
  RCC_OscInitStruct.PLL.PLLP = RCC_PLLP_DIV2;
  RCC_OscInitStruct.PLL.PLLQ = 4;
  if (HAL_RCC_OscConfig(&RCC_OscInitStruct) != HAL_OK)
  {
    Error_Handler();
  }

  /** Initializes the CPU, AHB and APB buses clocks
  */
  RCC_ClkInitStruct.ClockType = RCC_CLOCKTYPE_HCLK|RCC_CLOCKTYPE_SYSCLK
                              |RCC_CLOCKTYPE_PCLK1|RCC_CLOCKTYPE_PCLK2;
  RCC_ClkInitStruct.SYSCLKSource = RCC_SYSCLKSOURCE_PLLCLK;
  RCC_ClkInitStruct.AHBCLKDivider = RCC_SYSCLK_DIV1;
  RCC_ClkInitStruct.APB1CLKDivider = RCC_HCLK_DIV2;
  RCC_ClkInitStruct.APB2CLKDivider = RCC_HCLK_DIV1;

  if (HAL_RCC_ClockConfig(&RCC_ClkInitStruct, FLASH_LATENCY_3) != HAL_OK)
  {
    Error_Handler();
  }
}

static void MX_IWDG_Init(void)
{

  hiwdg.Instance = IWDG;
  hiwdg.Init.Prescaler = IWDG_PRESCALER_4;
  hiwdg.Init.Reload = 4000;
  if (HAL_IWDG_Init(&hiwdg) != HAL_OK)
  {
    Error_Handler();
  }

}

static void MX_SPI1_Init(void)
{

  /* SPI1 parameter configuration*/
  hspi1.Instance = SPI1;
  hspi1.Init.Mode = SPI_MODE_MASTER;
  hspi1.Init.Direction = SPI_DIRECTION_2LINES;
  hspi1.Init.DataSize = SPI_DATASIZE_8BIT;
  hspi1.Init.CLKPolarity = SPI_POLARITY_HIGH;
  hspi1.Init.CLKPhase = SPI_PHASE_1EDGE;
  hspi1.Init.NSS = SPI_NSS_SOFT;
  hspi1.Init.BaudRatePrescaler = SPI_BAUDRATEPRESCALER_2;
  hspi1.Init.FirstBit = SPI_FIRSTBIT_MSB;
  hspi1.Init.TIMode = SPI_TIMODE_DISABLE;
  hspi1.Init.CRCCalculation = SPI_CRCCALCULATION_DISABLE;
  hspi1.Init.CRCPolynomial = 10;
  if (HAL_SPI_Init(&hspi1) != HAL_OK)
  {
    Error_Handler();
  }

}

static void MX_TIM1_Init(void)
{

  TIM_Encoder_InitTypeDef sConfig = {0};
  TIM_MasterConfigTypeDef sMasterConfig = {0};

  htim1.Instance = TIM1;
  htim1.Init.Prescaler = 0;
  htim1.Init.CounterMode = TIM_COUNTERMODE_UP;
  htim1.Init.Period = 65535;
  htim1.Init.ClockDivision = TIM_CLOCKDIVISION_DIV1;
  htim1.Init.RepetitionCounter = 0;
  htim1.Init.AutoReloadPreload = TIM_AUTORELOAD_PRELOAD_DISABLE;
  sConfig.EncoderMode = TIM_ENCODERMODE_TI1;
  sConfig.IC1Polarity = TIM_ICPOLARITY_RISING;
  sConfig.IC1Selection = TIM_ICSELECTION_DIRECTTI;
  sConfig.IC1Prescaler = TIM_ICPSC_DIV1;
  sConfig.IC1Filter = 0;
  sConfig.IC2Polarity = TIM_ICPOLARITY_RISING;
  sConfig.IC2Selection = TIM_ICSELECTION_DIRECTTI;
  sConfig.IC2Prescaler = TIM_ICPSC_DIV1;
  sConfig.IC2Filter = 0;
  if (HAL_TIM_Encoder_Init(&htim1, &sConfig) != HAL_OK)
  {
    Error_Handler();
  }
  sMasterConfig.MasterOutputTrigger = TIM_TRGO_RESET;
  sMasterConfig.MasterSlaveMode = TIM_MASTERSLAVEMODE_DISABLE;
  if (HAL_TIMEx_MasterConfigSynchronization(&htim1, &sMasterConfig) != HAL_OK)
  {
    Error_Handler();
  }

}

static void MX_TIM2_Init(void)
{

  TIM_ClockConfigTypeDef sClockSourceConfig = {0};
  TIM_MasterConfigTypeDef sMasterConfig = {0};

  htim2.Instance = TIM2;
  htim2.Init.Prescaler = 100-1;
  htim2.Init.CounterMode = TIM_COUNTERMODE_UP;
  htim2.Init.Period = 4294967295;
  htim2.Init.ClockDivision = TIM_CLOCKDIVISION_DIV1;
  htim2.Init.AutoReloadPreload = TIM_AUTORELOAD_PRELOAD_ENABLE;
  if (HAL_TIM_Base_Init(&htim2) != HAL_OK)
  {
    Error_Handler();
  }
  sClockSourceConfig.ClockSource = TIM_CLOCKSOURCE_INTERNAL;
  if (HAL_TIM_ConfigClockSource(&htim2, &sClockSourceConfig) != HAL_OK)
  {
    Error_Handler();
  }
  sMasterConfig.MasterOutputTrigger = TIM_TRGO_RESET;
  sMasterConfig.MasterSlaveMode = TIM_MASTERSLAVEMODE_DISABLE;
  if (HAL_TIMEx_MasterConfigSynchronization(&htim2, &sMasterConfig) != HAL_OK)
  {
    Error_Handler();
  }

}

static void MX_TIM3_Init(void)
{

  TIM_ClockConfigTypeDef sClockSourceConfig = {0};
  TIM_MasterConfigTypeDef sMasterConfig = {0};

  htim3.Instance = TIM3;
  htim3.Init.Prescaler = 15;
  htim3.Init.CounterMode = TIM_COUNTERMODE_UP;
  htim3.Init.Period = 62499;
  htim3.Init.ClockDivision = TIM_CLOCKDIVISION_DIV1;
  htim3.Init.AutoReloadPreload = TIM_AUTORELOAD_PRELOAD_ENABLE;
  if (HAL_TIM_Base_Init(&htim3) != HAL_OK)
  {
    Error_Handler();
  }
  sClockSourceConfig.ClockSource = TIM_CLOCKSOURCE_INTERNAL;
  if (HAL_TIM_ConfigClockSource(&htim3, &sClockSourceConfig) != HAL_OK)
  {
    Error_Handler();
  }
  sMasterConfig.MasterOutputTrigger = TIM_TRGO_RESET;
  sMasterConfig.MasterSlaveMode = TIM_MASTERSLAVEMODE_DISABLE;
  if (HAL_TIMEx_MasterConfigSynchronization(&htim3, &sMasterConfig) != HAL_OK)
  {
    Error_Handler();
  }

}

static void MX_TIM4_Init(void)
{

  TIM_ClockConfigTypeDef sClockSourceConfig = {0};
  TIM_MasterConfigTypeDef sMasterConfig = {0};

  htim4.Instance = TIM4;
  htim4.Init.Prescaler = 15;
  htim4.Init.CounterMode = TIM_COUNTERMODE_DOWN;
  htim4.Init.Period = 62499;
  htim4.Init.ClockDivision = TIM_CLOCKDIVISION_DIV1;
  htim4.Init.AutoReloadPreload = TIM_AUTORELOAD_PRELOAD_ENABLE;
  if (HAL_TIM_Base_Init(&htim4) != HAL_OK)
  {
    Error_Handler();
  }
  sClockSourceConfig.ClockSource = TIM_CLOCKSOURCE_INTERNAL;
  if (HAL_TIM_ConfigClockSource(&htim4, &sClockSourceConfig) != HAL_OK)
  {
    Error_Handler();
  }
  sMasterConfig.MasterOutputTrigger = TIM_TRGO_RESET;
  sMasterConfig.MasterSlaveMode = TIM_MASTERSLAVEMODE_DISABLE;
  if (HAL_TIMEx_MasterConfigSynchronization(&htim4, &sMasterConfig) != HAL_OK)
  {
    Error_Handler();
  }

}

static void MX_TIM11_Init(void)
{

  htim11.Instance = TIM11;
  htim11.Init.Prescaler = 0;
  htim11.Init.CounterMode = TIM_COUNTERMODE_UP;
  htim11.Init.Period = 1000-1;
  htim11.Init.ClockDivision = TIM_CLOCKDIVISION_DIV1;
  htim11.Init.AutoReloadPreload = TIM_AUTORELOAD_PRELOAD_ENABLE;
  if (HAL_TIM_Base_Init(&htim11) != HAL_OK)
  {
    Error_Handler();
  }

}

static void MX_USART1_UART_Init(void)
{

  huart1.Instance = USART1;
  huart1.Init.BaudRate = 921600;
  huart1.Init.WordLength = UART_WORDLENGTH_9B;
  huart1.Init.StopBits = UART_STOPBITS_1;
  huart1.Init.Parity = UART_PARITY_EVEN;
  huart1.Init.Mode = UART_MODE_TX_RX;
  huart1.Init.HwFlowCtl = UART_HWCONTROL_NONE;
  huart1.Init.OverSampling = UART_OVERSAMPLING_16;
  if (HAL_UART_Init(&huart1) != HAL_OK)
  {
    Error_Handler();
  }

}

static void MX_DMA_Init(void)
{

  /* DMA controller clock enable */
  __HAL_RCC_DMA2_CLK_ENABLE();

  /* Configure DMA request hdma_memtomem_dma2_stream5 on DMA2_Stream5 */
  hdma_memtomem_dma2_stream5.Instance = DMA2_Stream5;
  hdma_memtomem_dma2_stream5.Init.Channel = DMA_CHANNEL_0;
  hdma_memtomem_dma2_stream5.Init.Direction = DMA_MEMORY_TO_MEMORY;
  hdma_memtomem_dma2_stream5.Init.PeriphInc = DMA_PINC_ENABLE;
  hdma_memtomem_dma2_stream5.Init.MemInc = DMA_MINC_ENABLE;
  hdma_memtomem_dma2_stream5.Init.PeriphDataAlignment = DMA_PDATAALIGN_BYTE;
  hdma_memtomem_dma2_stream5.Init.MemDataAlignment = DMA_MDATAALIGN_BYTE;
  hdma_memtomem_dma2_stream5.Init.Mode = DMA_NORMAL;
  hdma_memtomem_dma2_stream5.Init.Priority = DMA_PRIORITY_MEDIUM;
  hdma_memtomem_dma2_stream5.Init.FIFOMode = DMA_FIFOMODE_ENABLE;
  hdma_memtomem_dma2_stream5.Init.FIFOThreshold = DMA_FIFO_THRESHOLD_FULL;
  hdma_memtomem_dma2_stream5.Init.MemBurst = DMA_MBURST_SINGLE;
  hdma_memtomem_dma2_stream5.Init.PeriphBurst = DMA_PBURST_SINGLE;
  if (HAL_DMA_Init(&hdma_memtomem_dma2_stream5) != HAL_OK)
  {
    Error_Handler( );
  }

  /* Configure DMA request hdma_memtomem_dma2_stream4 on DMA2_Stream4 */
  hdma_memtomem_dma2_stream4.Instance = DMA2_Stream4;
  hdma_memtomem_dma2_stream4.Init.Channel = DMA_CHANNEL_0;
  hdma_memtomem_dma2_stream4.Init.Direction = DMA_MEMORY_TO_MEMORY;
  hdma_memtomem_dma2_stream4.Init.PeriphInc = DMA_PINC_ENABLE;
  hdma_memtomem_dma2_stream4.Init.MemInc = DMA_MINC_ENABLE;
  hdma_memtomem_dma2_stream4.Init.PeriphDataAlignment = DMA_PDATAALIGN_HALFWORD;
  hdma_memtomem_dma2_stream4.Init.MemDataAlignment = DMA_MDATAALIGN_HALFWORD;
  hdma_memtomem_dma2_stream4.Init.Mode = DMA_NORMAL;
  hdma_memtomem_dma2_stream4.Init.Priority = DMA_PRIORITY_MEDIUM;
  hdma_memtomem_dma2_stream4.Init.FIFOMode = DMA_FIFOMODE_ENABLE;
  hdma_memtomem_dma2_stream4.Init.FIFOThreshold = DMA_FIFO_THRESHOLD_FULL;
  hdma_memtomem_dma2_stream4.Init.MemBurst = DMA_MBURST_SINGLE;
  hdma_memtomem_dma2_stream4.Init.PeriphBurst = DMA_PBURST_SINGLE;
  if (HAL_DMA_Init(&hdma_memtomem_dma2_stream4) != HAL_OK)
  {
    Error_Handler( );
  }

  /* Configure DMA request hdma_memtomem_dma2_stream1 on DMA2_Stream1 */
  hdma_memtomem_dma2_stream1.Instance = DMA2_Stream1;
  hdma_memtomem_dma2_stream1.Init.Channel = DMA_CHANNEL_0;
  hdma_memtomem_dma2_stream1.Init.Direction = DMA_MEMORY_TO_MEMORY;
  hdma_memtomem_dma2_stream1.Init.PeriphInc = DMA_PINC_ENABLE;
  hdma_memtomem_dma2_stream1.Init.MemInc = DMA_MINC_ENABLE;
  hdma_memtomem_dma2_stream1.Init.PeriphDataAlignment = DMA_PDATAALIGN_WORD;
  hdma_memtomem_dma2_stream1.Init.MemDataAlignment = DMA_MDATAALIGN_WORD;
  hdma_memtomem_dma2_stream1.Init.Mode = DMA_NORMAL;
  hdma_memtomem_dma2_stream1.Init.Priority = DMA_PRIORITY_MEDIUM;
  hdma_memtomem_dma2_stream1.Init.FIFOMode = DMA_FIFOMODE_ENABLE;
  hdma_memtomem_dma2_stream1.Init.FIFOThreshold = DMA_FIFO_THRESHOLD_FULL;
  hdma_memtomem_dma2_stream1.Init.MemBurst = DMA_MBURST_SINGLE;
  hdma_memtomem_dma2_stream1.Init.PeriphBurst = DMA_PBURST_SINGLE;
  if (HAL_DMA_Init(&hdma_memtomem_dma2_stream1) != HAL_OK)
  {
    Error_Handler( );
  }

  /* Configure DMA request hdma_memtomem_dma2_stream0 on DMA2_Stream0 */
  hdma_memtomem_dma2_stream0.Instance = DMA2_Stream0;
  hdma_memtomem_dma2_stream0.Init.Channel = DMA_CHANNEL_0;
  hdma_memtomem_dma2_stream0.Init.Direction = DMA_MEMORY_TO_MEMORY;
  hdma_memtomem_dma2_stream0.Init.PeriphInc = DMA_PINC_DISABLE;
  hdma_memtomem_dma2_stream0.Init.MemInc = DMA_MINC_ENABLE;
  hdma_memtomem_dma2_stream0.Init.PeriphDataAlignment = DMA_PDATAALIGN_HALFWORD;
  hdma_memtomem_dma2_stream0.Init.MemDataAlignment = DMA_MDATAALIGN_HALFWORD;
  hdma_memtomem_dma2_stream0.Init.Mode = DMA_NORMAL;
  hdma_memtomem_dma2_stream0.Init.Priority = DMA_PRIORITY_MEDIUM;
  hdma_memtomem_dma2_stream0.Init.FIFOMode = DMA_FIFOMODE_ENABLE;
  hdma_memtomem_dma2_stream0.Init.FIFOThreshold = DMA_FIFO_THRESHOLD_FULL;
  hdma_memtomem_dma2_stream0.Init.MemBurst = DMA_MBURST_SINGLE;
  hdma_memtomem_dma2_stream0.Init.PeriphBurst = DMA_PBURST_SINGLE;
  if (HAL_DMA_Init(&hdma_memtomem_dma2_stream0) != HAL_OK)
  {
    Error_Handler( );
  }

  /* DMA interrupt init */
  /* DMA2_Stream2_IRQn interrupt configuration */
  HAL_NVIC_SetPriority(DMA2_Stream2_IRQn, 5, 0);
  HAL_NVIC_EnableIRQ(DMA2_Stream2_IRQn);
  /* DMA2_Stream3_IRQn interrupt configuration */
  HAL_NVIC_SetPriority(DMA2_Stream3_IRQn, 5, 0);
  HAL_NVIC_EnableIRQ(DMA2_Stream3_IRQn);
  /* DMA2_Stream7_IRQn interrupt configuration */
  HAL_NVIC_SetPriority(DMA2_Stream7_IRQn, 5, 0);
  HAL_NVIC_EnableIRQ(DMA2_Stream7_IRQn);

}

static void MX_GPIO_Init(void)
{
  GPIO_InitTypeDef GPIO_InitStruct = {0};

  /* GPIO Ports Clock Enable */
  __HAL_RCC_GPIOC_CLK_ENABLE();
  __HAL_RCC_GPIOH_CLK_ENABLE();
  __HAL_RCC_GPIOA_CLK_ENABLE();
  __HAL_RCC_GPIOB_CLK_ENABLE();

  /*Configure GPIO pin Output Level */
  HAL_GPIO_WritePin(LED_GP_GPIO_Port, LED_GP_Pin, GPIO_PIN_RESET);

  /*Configure GPIO pin Output Level */
  HAL_GPIO_WritePin(GPIOA, LCD_DC_Pin|LCD_RST_Pin, GPIO_PIN_SET);

  /*Configure GPIO pin Output Level */
  HAL_GPIO_WritePin(GPIOB, LCD_CS_Pin|LCD_BLK_Pin, GPIO_PIN_SET);

  /*Configure GPIO pin Output Level */
  HAL_GPIO_WritePin(GPIOB, LED_COMM_Pin|LED_USB_Pin|LED_CONTROL_Pin, GPIO_PIN_RESET);

  /*Configure GPIO pin : LED_GP_Pin */
  GPIO_InitStruct.Pin = LED_GP_Pin;
  GPIO_InitStruct.Mode = GPIO_MODE_OUTPUT_PP;
  GPIO_InitStruct.Pull = GPIO_NOPULL;
  GPIO_InitStruct.Speed = GPIO_SPEED_FREQ_LOW;
  HAL_GPIO_Init(LED_GP_GPIO_Port, &GPIO_InitStruct);

  /*Configure GPIO pin : BtnDown_Pin */
  GPIO_InitStruct.Pin = BtnDown_Pin;
  GPIO_InitStruct.Mode = GPIO_MODE_INPUT;
  GPIO_InitStruct.Pull = GPIO_PULLUP;
  HAL_GPIO_Init(BtnDown_GPIO_Port, &GPIO_InitStruct);

  /*Configure GPIO pins : BtnLeft_Pin BtnOK_Pin BtnRight_Pin BtnUP_Pin
                           EncoderSW_Pin BtnMenu_Pin */
  GPIO_InitStruct.Pin = BtnLeft_Pin|BtnOK_Pin|BtnRight_Pin|BtnUP_Pin
                          |EncoderSW_Pin|BtnMenu_Pin;
  GPIO_InitStruct.Mode = GPIO_MODE_INPUT;
  GPIO_InitStruct.Pull = GPIO_PULLUP;
  HAL_GPIO_Init(GPIOA, &GPIO_InitStruct);

  /*Configure GPIO pins : LCD_DC_Pin LCD_RST_Pin */
  GPIO_InitStruct.Pin = LCD_DC_Pin|LCD_RST_Pin;
  GPIO_InitStruct.Mode = GPIO_MODE_OUTPUT_PP;
  GPIO_InitStruct.Pull = GPIO_PULLUP;
  GPIO_InitStruct.Speed = GPIO_SPEED_FREQ_VERY_HIGH;
  HAL_GPIO_Init(GPIOA, &GPIO_InitStruct);

  /*Configure GPIO pins : LCD_CS_Pin LCD_BLK_Pin */
  GPIO_InitStruct.Pin = LCD_CS_Pin|LCD_BLK_Pin;
  GPIO_InitStruct.Mode = GPIO_MODE_OUTPUT_PP;
  GPIO_InitStruct.Pull = GPIO_PULLUP;
  GPIO_InitStruct.Speed = GPIO_SPEED_FREQ_VERY_HIGH;
  HAL_GPIO_Init(GPIOB, &GPIO_InitStruct);

  /*Configure GPIO pin : Reset_IT_Pin */
  GPIO_InitStruct.Pin = Reset_IT_Pin;
  GPIO_InitStruct.Mode = GPIO_MODE_IT_FALLING;
  GPIO_InitStruct.Pull = GPIO_PULLUP;
  HAL_GPIO_Init(Reset_IT_GPIO_Port, &GPIO_InitStruct);

  /*Configure GPIO pins : LED_COMM_Pin LED_USB_Pin LED_CONTROL_Pin */
  GPIO_InitStruct.Pin = LED_COMM_Pin|LED_USB_Pin|LED_CONTROL_Pin;
  GPIO_InitStruct.Mode = GPIO_MODE_OUTPUT_PP;
  GPIO_InitStruct.Pull = GPIO_NOPULL;
  GPIO_InitStruct.Speed = GPIO_SPEED_FREQ_LOW;
  HAL_GPIO_Init(GPIOB, &GPIO_InitStruct);

  /* EXTI interrupt init*/
  HAL_NVIC_SetPriority(EXTI15_10_IRQn, 5, 0);
  HAL_NVIC_EnableIRQ(EXTI15_10_IRQn);

}

void vTaskIdle(void *argument)
{
  /* USER CODE BEGIN 5 */
	/* Critical init subroutines */

	/* Finish critical init subroutines */
	osThreadSetPriority(TaskIdleHandle, osPriorityLow);
  /* Infinite loop */
  for(;;)
  {
    osDelay(1);
  }
  /* USER CODE END 5 */
}

void vTaskLeds(void *argument)
{
  /* USER CODE BEGIN vTaskLeds */
	uint32_t flags = 0, modeFlags = 0;
	HAL_GPIO_WritePin(LED_CONTROL_GPIO_Port, LED_CONTROL_Pin, 1);
	HAL_GPIO_WritePin(LED_COMM_GPIO_Port, LED_COMM_Pin, 0);
	HAL_GPIO_WritePin(LED_USB_GPIO_Port, LED_USB_Pin, 0);
	//HAL_GPIO_WritePin(LED_COMM_GPIO_Port, LED_COMM_Pin, 0);
  /* Infinite loop */
  for(;;)
  {
  	//flags = osEventFlagsWait(xEvent_FatalErrorHandle, FATAL_ERROR_MOTHER_COMM, osFlagsWaitAny, osWaitForever);

  	if(flags&FATAL_ERROR_MOTHER_COMM)
  	{
  		/* Error comm with Motherboard */
  		//HAL_GPIO_WritePin(LED_COMM_GPIO_Port, LED_COMM_Pin, 1);
  	}
  	//modeFlags = osEventFlagsWait(xEvent_CurrentControlModeHandle, (MODE_MANUAL_FLAG | MODE_PID_FLAG | MODE_USB_FLAG), osFlagsWaitAny, osWaitForever);
  	if(modeFlags&MODE_PID_FLAG)
  	{
  		/* PID mode */
  		HAL_GPIO_WritePin(LED_CONTROL_GPIO_Port, LED_CONTROL_Pin, 1);
  		HAL_GPIO_WritePin(LED_COMM_GPIO_Port, LED_COMM_Pin, 0);
  		HAL_GPIO_WritePin(LED_USB_GPIO_Port, LED_USB_Pin, 0);
  	}
  	if(modeFlags&MODE_USB_FLAG)
  	{
  		/* USB flag */
  		HAL_GPIO_WritePin(LED_CONTROL_GPIO_Port, LED_CONTROL_Pin, 0);
  		HAL_GPIO_WritePin(LED_COMM_GPIO_Port, LED_COMM_Pin, 0);
  		HAL_GPIO_WritePin(LED_USB_GPIO_Port, LED_USB_Pin, 1);
  	}
  	if(modeFlags&MODE_MANUAL_FLAG)
  	{
  		/* Manual flag */
  		HAL_GPIO_WritePin(LED_CONTROL_GPIO_Port, LED_CONTROL_Pin, 0);
  		HAL_GPIO_WritePin(LED_COMM_GPIO_Port, LED_COMM_Pin, 0);
  		HAL_GPIO_WritePin(LED_USB_GPIO_Port, LED_USB_Pin, 0);
  	}
  }
  /* USER CODE END vTaskLeds */
}

void vTaskWdgM(void *argument)
{
  /* USER CODE BEGIN vTaskWdgM */
	const TickType_t ticksForResetWDG = pdMS_TO_TICKS(450); //WDG @ 500ms
	TickType_t ticks;

	HAL_IWDG_Refresh(&hiwdg);
	ticks = osKernelGetTickCount();
  for(;;)
  {
    HAL_IWDG_Refresh(&hiwdg);
    ticks += ticksForResetWDG;
    osDelayUntil(ticks);
  }
  /* USER CODE END vTaskWdgM */
}

void Error_Handler(void)
{
  __disable_irq();
  while (1)
  {
  }
}

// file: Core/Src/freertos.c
/* USER CODE BEGIN Header */
/**
  ******************************************************************************
  * File Name          : freertos.c
  * Description        : Code for freertos applications
  ******************************************************************************
  * @attention
  *
  * Copyright (c) 2024 STMicroelectronics.
  * All rights reserved.
  *
  * This software is licensed under terms that can be found in the LICENSE file
  * in the root directory of this software component.
  * If no LICENSE file comes with this software, it is provided AS-IS.
  *
  ******************************************************************************
  */
/* USER CODE END Header */

#include "FreeRTOS.h"
#include "task.h"
#include "main.h"

/* Hook prototypes */
void vApplicationStackOverflowHook(xTaskHandle xTask, signed char *pcTaskName);

/* USER CODE BEGIN 4 */
__weak void vApplicationStackOverflowHook(xTaskHandle xTask, signed char *pcTaskName)
{
   /* Run time stack overflow checking is performed if
   configCHECK_FOR_STACK_OVERFLOW is defined to 1 or 2. This hook function is
   called if a stack overflow is detected. */
}
/* USER CODE END 4 */
